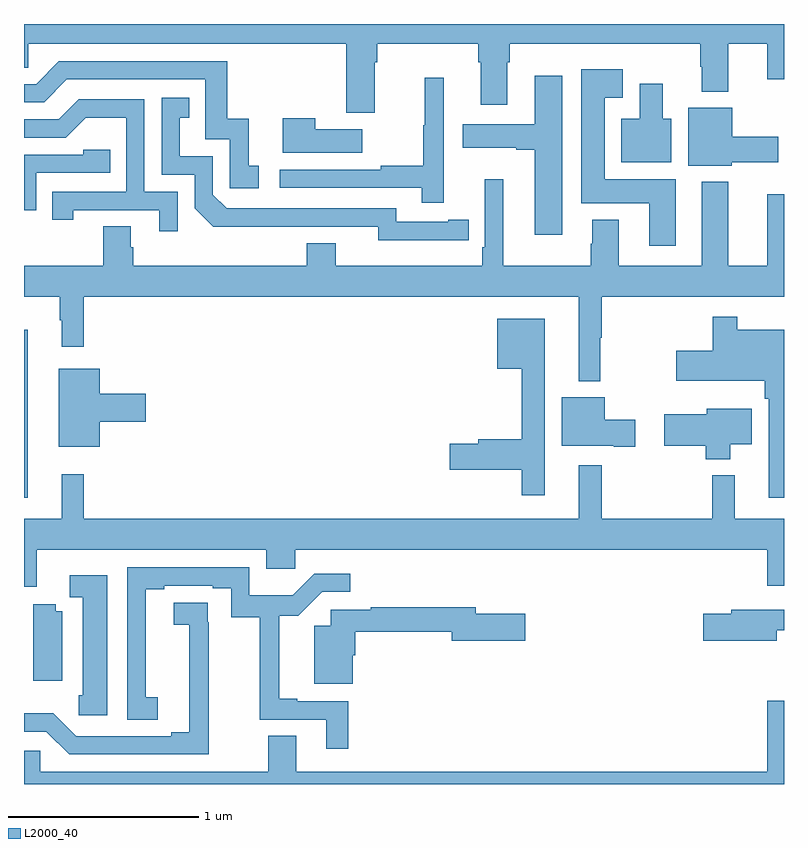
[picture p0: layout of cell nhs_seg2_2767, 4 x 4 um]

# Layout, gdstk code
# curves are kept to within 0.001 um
import gdstk
lib = gdstk.Library(unit=1e-6, precision=1e-09)
def R(c, l, rs):  # rectangles x0, y0, x1, y1
    for r in rs: c.add(gdstk.rectangle(r[:2], r[2:], *l))
def P(c, l, *ps):  # polygons
    for p in ps: c.add(gdstk.Polygon(p, *l))
L2000_40 = (2000, 40)

nhs_seg2_2767 = lib.new_cell('nhs_seg2_2767')
R(nhs_seg2_2767, L2000_40, [(257,585.306,257.02,586.192)])
P(nhs_seg2_2767, L2000_40, [(258.847,587.6),(258.86,587.6),(258.86,587.696),(259.391,587.696),(259.391,587.6),(259.403,587.6),(259.403,587.376),(259.543,587.376),(259.543,587.6),(259.556,587.6),(259.556,587.696),(260.56,587.696),(260.56,587.576),(260.567,587.576),(260.567,587.444),(260.707,587.444),(260.707,587.696),(260.912,587.696),(260.912,587.508),(261,587.508),(261,587.8),(257,587.8),(257,587.569),(257.022,587.569),(257.022,587.696),(258.695,587.696),(258.695,587.334),(258.847,587.334)],
  [(258.235,587.055),(258.182,587.055),(258.182,587.302),(258.071,587.302),(258.071,587.604),(257.184,587.604),(257.064,587.484),(257,587.484),(257,587.388),(257.106,587.388),(257.226,587.508),(257.955,587.508),(257.955,587.193),(258.084,587.193),(258.084,586.935),(258.235,586.935)],
  [(260.431,586.984),(260.056,586.984),(260.056,587.411),(260.152,587.411),(260.152,587.563),(259.934,587.563),(259.934,586.856),(260.291,586.856),(260.291,586.632),(260.431,586.632)],
  [(259.834,587.527),(259.688,587.527),(259.688,587.272),(259.308,587.272),(259.308,587.15),(259.592,587.15),(259.592,587.138),(259.688,587.138),(259.688,586.692),(259.834,586.692)],
  [(259.209,587.518),(259.108,587.518),(259.108,587.268),(259.101,587.268),(259.101,587.054),(258.877,587.054),(258.877,587.034),(258.345,587.034),(258.345,586.938),(259.093,586.938),(259.093,586.86),(259.209,586.86)],
  [(260.407,587.302),(260.362,587.302),(260.362,587.485),(260.24,587.485),(260.24,587.302),(260.144,587.302),(260.144,587.072),(260.407,587.072)],
  [(259.232,586.662),(259.34,586.662),(259.34,586.771),(259.232,586.771),(259.232,586.758),(258.96,586.758),(258.96,586.83),(258.066,586.83),(257.994,586.902),(257.994,587.103),(257.821,587.103),(257.821,587.307),(257.87,587.307),(257.87,587.413),(257.724,587.413),(257.724,587.007),(257.898,587.007),(257.898,586.83),(257.996,586.733),(258.864,586.734),(258.864,586.661)],
  [(257.808,586.917),(257.634,586.917),(257.634,587.403),(257.288,587.403),(257.183,587.298),(257,587.298),(257,587.202),(257.22,587.202),(257.324,587.306),(257.538,587.306),(257.538,586.917),(257.149,586.917),(257.149,586.77),(257.26,586.77),(257.26,586.821),(257.711,586.821),(257.711,586.71),(257.808,586.71)],
  [(260.724,587.072),(260.971,587.072),(260.971,587.207),(260.728,587.207),(260.728,587.359),(260.495,587.359),(260.495,587.054),(260.724,587.054)],
  [(258.781,587.245),(258.533,587.245),(258.533,587.305),(258.362,587.305),(258.362,587.123),(258.781,587.123)],
  [(257.064,587.016),(257.453,587.016),(257.453,587.139),(257.313,587.139),(257.313,587.112),(257,587.112),(257,586.821),(257.064,586.821)],
  [(260.033,586.148),(260.041,586.148),(260.041,586.364),(261,586.364),(261,586.903),(260.912,586.903),(260.912,586.528),(260.707,586.528),(260.707,586.969),(260.567,586.969),(260.567,586.528),(260.131,586.528),(260.131,586.771),(259.991,586.771),(259.991,586.644),(259.984,586.644),(259.984,586.528),(259.522,586.528),(259.522,586.984),(259.425,586.984),(259.425,586.624),(259.412,586.624),(259.412,586.528),(258.64,586.528),(258.64,586.645),(258.488,586.645),(258.488,586.528),(257.576,586.528),(257.576,586.626),(257.563,586.626),(257.563,586.736),(257.416,586.736),(257.416,586.528),(257,586.528),(257,586.364),(257.187,586.364),(257.187,586.241),(257.198,586.241),(257.198,586.101),(257.315,586.101),(257.315,586.364),(259.919,586.364),(259.919,585.92),(260.033,585.92)],
  [(261,586.192),(260.755,586.192),(260.755,586.258),(260.626,586.258),(260.626,586.081),(260.433,586.081),(260.433,585.923),(260.899,585.923),(260.899,585.827),(260.919,585.827),(260.919,585.306),(261,585.306)],
  [(259.741,586.249),(259.49,586.249),(259.49,585.986),(259.62,585.986),(259.62,585.615),(259.391,585.615),(259.391,585.59),(259.242,585.59),(259.242,585.455),(259.62,585.455),(259.62,585.321),(259.741,585.321)],
  [(257.398,585.707),(257.641,585.707),(257.641,585.854),(257.398,585.854),(257.398,585.985),(257.183,585.985),(257.183,585.575),(257.398,585.575)],
  [(260.218,585.716),(260.056,585.716),(260.056,585.835),(259.829,585.835),(259.829,585.581),(260.105,585.581),(260.105,585.574),(260.218,585.574)],
  [(260.716,585.587),(260.83,585.587),(260.83,585.775),(260.594,585.775),(260.594,585.745),(260.37,585.745),(260.37,585.58),(260.587,585.58),(260.587,585.509),(260.716,585.509)],
  [(257.068,585.032),(258.275,585.032),(258.275,584.934),(258.427,584.934),(258.427,585.032),(260.912,585.032),(260.912,584.844),(261,584.844),(261,585.196),(260.741,585.196),(260.741,585.424),(260.623,585.424),(260.623,585.196),(260.041,585.196),(260.041,585.478),(259.919,585.478),(259.919,585.196),(257.315,585.196),(257.315,585.43),(257.198,585.43),(257.198,585.196),(257,585.196),(257,584.838),(257.068,584.838)],
  [(258.707,584.235),(258.439,584.235),(258.439,584.248),(258.344,584.248),(258.344,584.685),(258.443,584.685),(258.57,584.811),(258.718,584.811),(258.718,584.907),(258.528,584.907),(258.415,584.794),(258.186,584.794),(258.186,584.94),(257.544,584.94),(257.544,584.137),(257.704,584.137),(257.704,584.257),(257.642,584.257),(257.641,584.824),(257.737,584.824),(257.737,584.844),(257.993,584.844),(257.993,584.83),(258.09,584.83),(258.09,584.677),(258.241,584.677),(258.241,584.139),(258.59,584.139),(258.59,583.986),(258.707,583.986)],
  [(257.437,584.899),(257.241,584.899),(257.241,584.784),(257.309,584.784),(257.309,584.268),(257.287,584.268),(257.287,584.163),(257.437,584.163)],
  [(257.972,584.651),(257.966,584.651),(257.966,584.753),(257.787,584.753),(257.787,584.638),(257.869,584.638),(257.87,584.072),(257.774,584.072),(257.774,584.052),(257.274,584.052),(257.153,584.173),(257,584.173),(257,584.076),(257.118,584.076),(257.238,583.956),(257.972,583.956)],
  [(257.2,584.71),(257.168,584.71),(257.168,584.747),(257.048,584.747),(257.048,584.343),(257.2,584.343)],
  [(258.73,584.478),(258.743,584.478),(258.743,584.602),(259.25,584.602),(259.25,584.555),(259.639,584.555),(259.639,584.697),(259.378,584.697),(259.378,584.731),(258.826,584.731),(258.826,584.718),(258.615,584.718),(258.615,584.632),(258.527,584.632),(258.527,584.327),(258.73,584.327)],
  [(260.962,584.61),(261,584.61),(261,584.718),(260.723,584.718),(260.723,584.697),(260.574,584.697),(260.574,584.555),(260.962,584.555)],
  [(261,584.239),(260.912,584.239),(260.912,583.864),(258.433,583.864),(258.433,584.054),(258.286,584.054),(258.286,583.864),(257.085,583.864),(257.085,583.974),(257,583.974),(257,583.8),(261,583.8)])

lib.write_gds('nhs_seg2_2767.gds')
